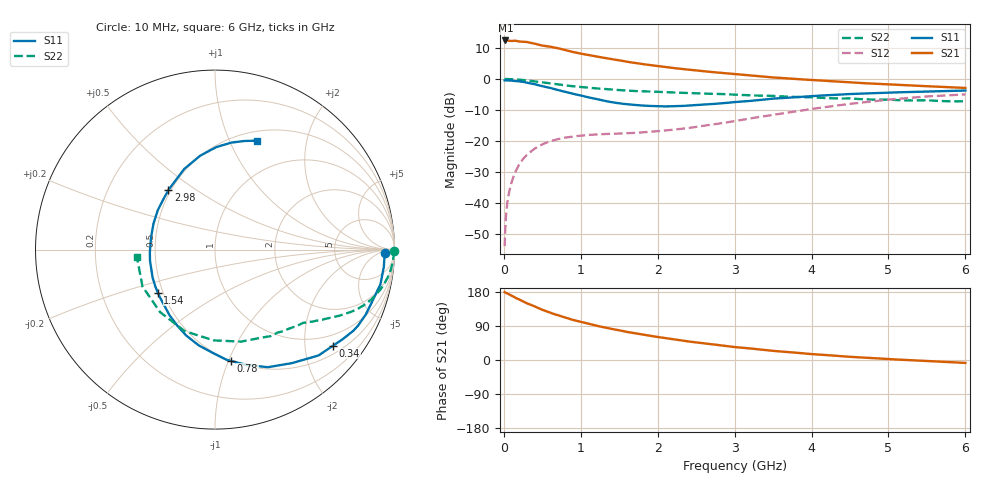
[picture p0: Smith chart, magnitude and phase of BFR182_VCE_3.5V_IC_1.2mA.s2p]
! Infineon Technologies  Discrete & RF Semiconductors
! BFR182
! VCE =  3.5 V,  IC =  1.2 mA
! Common Emitter S-Parameters:  Nov 2015
# GHz  S  MA  R  50
!  f  S11  S21  S12  S22
! GHz  MAG  ANG  MAG  ANG  MAG  ANG  MAG  ANG
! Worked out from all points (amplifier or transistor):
!   210 points, 10 MHz to 6 GHz, reference 50 ohm
!   highest |S21| = 12.4 dB at 20 MHz (marker M1)
!   |S21| within 3 dB of that: start of sweep to 783.2 MHz
!   unconditionally stable (mu >= 1): 1.685 GHz to 3.245 GHz
!   at 185 MHz: K = 0.13, MSG = 20.2 dB, |S12| = -28.3 dB
!   at 1.52 GHz: K = 0.92, MSG = 11.8 dB, |S12| = -17.6 dB
!   at 6 GHz: K = 0.92, MSG = 1.0 dB, |S12| = -5.0 dB
!   S11 on the Smith chart (normalised r, x): 10 MHz: 33, -13; 340 MHz: 0.70, -2.66; 780 MHz: 0.50, -1.02; 1.54 GHz: 0.47, -0.27; 2.98 GHz: 0.49, +0.39; 6 GHz: 0.60, +1.27
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0.01  0.9487 -1.2  4.109 179.2  0.002 88.3  0.998 -0.5
0.02  0.9453 -2.2  4.179 177.9  0.0041 92.1  0.9975 -1.0
0.03  0.945 -3.4  4.167 177.0  0.0065 88.2  0.9966 -1.5
0.05  0.9455 -5.8  4.145 175.1  0.0112 85.4  0.9951 -2.5
0.11  0.9374 -13.0  4.101 169.0  0.0233 82.2  0.9892 -5.3
0.15  0.9236 -17.8  4.136 164.2  0.0316 79.1  0.9829 -7.4
0.3  0.8695 -35.0  3.946 149.6  0.0596 69.4  0.9464 -13.8
0.34  0.8482 -39.1  3.843 146.5  0.0656 66.7  0.9336 -15.3
0.5  0.765 -55.7  3.456 132.5  0.088 58.5  0.8833 -20.7
0.6  0.7185 -65.8  3.319 124.9  0.0985 54.0  0.8495 -23.5
0.78  0.6269 -81.8  2.965 112.9  0.1118 48.1  0.7925 -27.4
0.9  0.5765 -91.1  2.719 105.7  0.1178 45.3  0.761 -29.6
1.02  0.5331 -101.3  2.536 99.5  0.1223 43.1  0.7369 -31.3
1.24  0.4614 -119.4  2.261 88.9  0.1279 40.8  0.6984 -34.4
1.54  0.3985 -143.0  1.957 76.7  0.132 41.1  0.6566 -37.9
2.02  0.3624 -178.9  1.603 60.1  0.1444 45.7  0.6184 -43.9
2.4  0.3723 156.9  1.413 48.9  0.161 51.0  0.5945 -49.8
2.98  0.4205 128.2  1.206 34.7  0.2066 56.0  0.559 -60.8
3.1  0.4315 123.7  1.169 32.4  0.2193 56.1  0.5504 -63.7
4.1  0.5372 96.8  0.944 14.3  0.3407 51.6  0.4971 -94.6
5.1  0.6069 80.0  0.805 1.4  0.4742 38.0  0.4563 -135.5
6  0.6496 69.1  0.716 -7.7  0.5637 22.2  0.4371 -174.7
